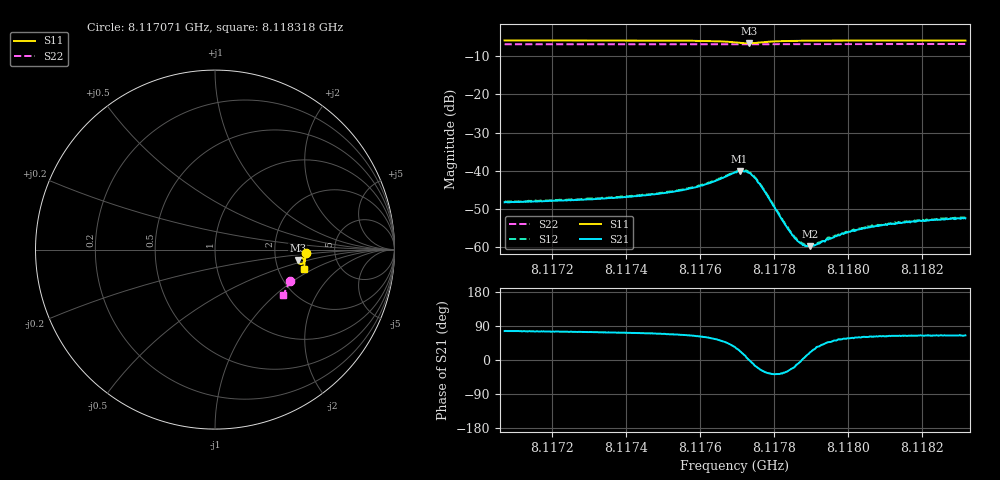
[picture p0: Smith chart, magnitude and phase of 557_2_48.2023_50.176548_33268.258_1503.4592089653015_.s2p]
#  HZ  S  RI  R  50.00
! Rohde & Schwarz Vector Network Analyzer
! Rohde-Schwarz,ZNB20-2Port,1311601062101988,3.16
! Created: UTC 3/20/2024, 12:01:02 PM
! freq[Hz]  re:S11  im:S11  re:S21  im:S21  re:S12  im:S12  re:S22  im:S22
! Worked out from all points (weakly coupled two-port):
!   401 points, 8.117071 GHz to 8.118318 GHz, reference 50 ohm
!   highest |S21| = -40.03 dB at 8.117707 GHz (marker M1); lowest = -59.7 dB at 8.117897 GHz (marker M2)
!   lowest |S11| = -6.7 dB at 8.117732 GHz (marker M3), VSWR 2.74, Z = 133 - j20.2 ohm
!   |S11| at or under -10 dB: nowhere
!   |S22| runs from -6.9 to -6.8 dB; largest |S21 - S12| = 0.00038
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8.1170711e9  0.5062 -0.0209  0.000912 0.00377  0.000965 0.00389  0.417 -0.173
8.1172799e9  0.5047 -0.038  0.00116 0.00403  0.0012 0.00412  0.4117 -0.1869
8.1174886e9  0.5015 -0.0568  0.00176 0.0047  0.00178 0.00478  0.4059 -0.2004
8.1175915e9  0.4966 -0.0688  0.00281 0.00549  0.00292 0.00558  0.4028 -0.207
8.1176382e9  0.4906 -0.0756  0.00408 0.00603  0.0042 0.00611  0.4011 -0.2101
8.1176943e9  0.4721 -0.079  0.00794 0.0054  0.00814 0.00526  0.3985 -0.2134
8.1177068e9  0.4662 -0.0752  0.00909 0.00408  0.0092 0.00413  0.398 -0.2139
8.1177317e9  0.461 -0.0593  0.00946 5.14e-05  0.00964 4.16e-05  0.3972 -0.2144
8.1177473e9  0.4664 -0.0498  0.00787 -0.00203  0.00809 -0.002  0.3972 -0.215
8.117766e9  0.4768 -0.0452  0.00551 -0.00282  0.00563 -0.00297  0.3973 -0.2163
8.1178221e9  0.4941 -0.0537  0.00184 -0.00133  0.00189 -0.00138  0.3962 -0.2201
8.1178563e9  0.4971 -0.0601  0.00125 -0.000392  0.00128 -0.000431  0.3951 -0.2225
8.1178688e9  0.4979 -0.0622  0.00115 -0.000123  0.00115 -0.000132  0.3947 -0.2232
8.1178782e9  0.4981 -0.0637  0.00106 5.31e-05  0.00111 3.61e-05  0.3945 -0.224
8.1178968e9  0.4986 -0.0663  0.000971 0.000356  0.00101 0.000328  0.3939 -0.2251
8.1179031e9  0.4988 -0.0671  0.000968 0.000442  0.00101 0.00044  0.3936 -0.2255
8.1179498e9  0.4991 -0.0729  0.000879 0.000951  0.000879 0.000977  0.3922 -0.2285
8.1180059e9  0.4986 -0.0787  0.000861 0.00134  0.00089 0.00137  0.3904 -0.2322
8.1180589e9  0.4982 -0.0837  0.000858 0.00161  0.000868 0.00168  0.3886 -0.2356
8.1181119e9  0.4975 -0.0887  0.000879 0.00181  0.000911 0.00184  0.3868 -0.2388
8.118196e9  0.4964 -0.0956  0.000933 0.00202  0.000959 0.00199  0.3839 -0.2438
8.1183175e9  0.4944 -0.1054  0.00101 0.00217  0.00106 0.00224  0.3794 -0.2513
